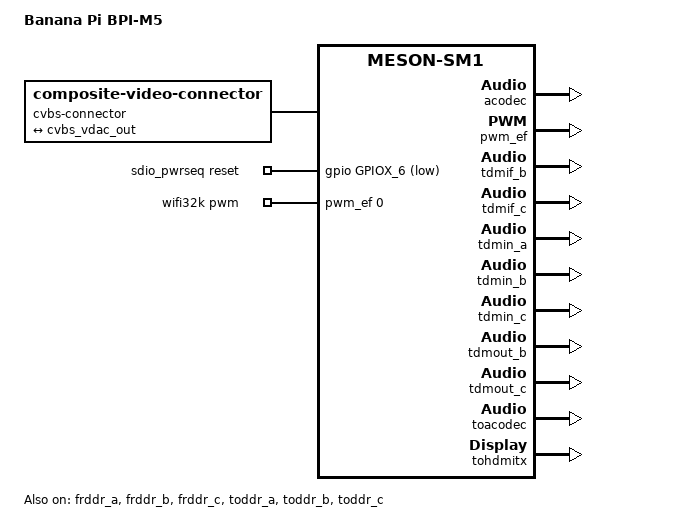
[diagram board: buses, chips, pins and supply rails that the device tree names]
// SPDX-License-Identifier: (GPL-2.0+ OR MIT)
/*
 * Copyright (c) 2021 BayLibre SAS
 * Author: Neil Armstrong <narmstrong@baylibre.com>
 */

/dts-v1/;

#include "meson-sm1-bananapi.dtsi"
#include <dt-bindings/sound/meson-g12a-toacodec.h>
#include <dt-bindings/sound/meson-g12a-tohdmitx.h>

/ {
	compatible = "bananapi,bpi-m5", "amlogic,sm1";
	model = "Banana Pi BPI-M5";

	/* TOFIX: handle CVBS_DET on SARADC channel 0 */
	cvbs-connector {
		compatible = "composite-video-connector";

		port {
			cvbs_connector_in: endpoint {
				remote-endpoint = <&cvbs_vdac_out>;
			};
		};
	};

	sdio_pwrseq: sdio-pwrseq {
		compatible = "mmc-pwrseq-simple";
		reset-gpios = <&gpio GPIOX_6 GPIO_ACTIVE_LOW>;
		clocks = <&wifi32k>;
		clock-names = "ext_clock";
	};

	wifi32k: wifi32k {
		compatible = "pwm-clock";
		#clock-cells = <0>;
		clock-frequency = <32768>;
		pwms = <&pwm_ef 0 30518 0>; /* PWM_E at 32.768KHz */
	};

	sound {
		compatible = "amlogic,axg-sound-card";
		model = "BPI-M5";
		audio-widgets = "Line", "Lineout";
		audio-aux-devs = <&tdmout_b>, <&tdmout_c>,
				 <&tdmin_a>, <&tdmin_b>, <&tdmin_c>;
		audio-routing = "TDMOUT_B IN 0", "FRDDR_A OUT 1",
				"TDMOUT_B IN 1", "FRDDR_B OUT 1",
				"TDMOUT_B IN 2", "FRDDR_C OUT 1",
				"TDM_B Playback", "TDMOUT_B OUT",
				"TDMOUT_C IN 0", "FRDDR_A OUT 2",
				"TDMOUT_C IN 1", "FRDDR_B OUT 2",
				"TDMOUT_C IN 2", "FRDDR_C OUT 2",
				"TDM_C Playback", "TDMOUT_C OUT",
				"TDMIN_A IN 4", "TDM_B Loopback",
				"TDMIN_B IN 4", "TDM_B Loopback",
				"TDMIN_C IN 4", "TDM_B Loopback",
				"TDMIN_A IN 5", "TDM_C Loopback",
				"TDMIN_B IN 5", "TDM_C Loopback",
				"TDMIN_C IN 5", "TDM_C Loopback",
				"TODDR_A IN 0", "TDMIN_A OUT",
				"TODDR_B IN 0", "TDMIN_A OUT",
				"TODDR_C IN 0", "TDMIN_A OUT",
				"TODDR_A IN 1", "TDMIN_B OUT",
				"TODDR_B IN 1", "TDMIN_B OUT",
				"TODDR_C IN 1", "TDMIN_B OUT",
				"TODDR_A IN 2", "TDMIN_C OUT",
				"TODDR_B IN 2", "TDMIN_C OUT",
				"TODDR_C IN 2", "TDMIN_C OUT",
				"Lineout", "ACODEC LOLP",
				"Lineout", "ACODEC LORP";

		assigned-clocks = <&clkc CLKID_MPLL2>,
				  <&clkc CLKID_MPLL0>,
				  <&clkc CLKID_MPLL1>;
		assigned-clock-parents = <0>, <0>, <0>;
		assigned-clock-rates = <294912000>,
				       <270950400>,
				       <393216000>;

		dai-link-0 {
			sound-dai = <&frddr_a>;
		};

		dai-link-1 {
			sound-dai = <&frddr_b>;
		};

		dai-link-2 {
			sound-dai = <&frddr_c>;
		};

		dai-link-3 {
			sound-dai = <&toddr_a>;
		};

		dai-link-4 {
			sound-dai = <&toddr_b>;
		};

		dai-link-5 {
			sound-dai = <&toddr_c>;
		};

		/* 8ch hdmi interface */
		dai-link-6 {
			sound-dai = <&tdmif_b>;
			dai-format = "i2s";
			dai-tdm-slot-tx-mask-0 = <1 1>;
			dai-tdm-slot-tx-mask-1 = <1 1>;
			dai-tdm-slot-tx-mask-2 = <1 1>;
			dai-tdm-slot-tx-mask-3 = <1 1>;
			mclk-fs = <256>;

			codec-0 {
				sound-dai = <&tohdmitx TOHDMITX_I2S_IN_B>;
			};

			codec-1 {
				sound-dai = <&toacodec TOACODEC_IN_B>;
			};
		};

		/* i2s jack output interface */
		dai-link-7 {
			sound-dai = <&tdmif_c>;
			dai-format = "i2s";
			dai-tdm-slot-tx-mask-0 = <1 1>;
			mclk-fs = <256>;

			codec-0 {
				sound-dai = <&tohdmitx TOHDMITX_I2S_IN_C>;
			};

			codec-1 {
				sound-dai = <&toacodec TOACODEC_IN_C>;
			};
		};

		/* hdmi glue */
		dai-link-8 {
			sound-dai = <&tohdmitx TOHDMITX_I2S_OUT>;

			codec {
				sound-dai = <&hdmi_tx>;
			};
		};

		/* acodec glue */
		dai-link-9 {
			sound-dai = <&toacodec TOACODEC_OUT>;

			codec {
				sound-dai = <&acodec>;
			};
		};
	};
};

&acodec {
	AVDD-supply = <&vddao_1v8>;
	status = "okay";
};

&clkc_audio {
	status = "okay";
};

&cvbs_vdac_port {
	cvbs_vdac_out: endpoint {
		remote-endpoint = <&cvbs_connector_in>;
	};
};

&frddr_a {
	status = "okay";
};

&frddr_b {
	status = "okay";
};

&frddr_c {
	status = "okay";
};

&pwm_ef {
	status = "okay";
	pinctrl-0 = <&pwm_e_pins>;
	pinctrl-names = "default";
};

/* SDIO */
&sd_emmc_a {
	/* enable if WiFi/BT board connected */
	status = "disabled";
	pinctrl-0 = <&sdio_pins>;
	pinctrl-1 = <&sdio_clk_gate_pins>;
	pinctrl-names = "default", "clk-gate";
	#address-cells = <1>;
	#size-cells = <0>;

	bus-width = <4>;
	sd-uhs-sdr104;
	max-frequency = <50000000>;

	non-removable;
	disable-wp;

	/* WiFi firmware requires power in suspend */
	keep-power-in-suspend;

	mmc-pwrseq = <&sdio_pwrseq>;

	vmmc-supply = <&vddao_3v3>;
	vqmmc-supply = <&vddao_1v8>;

	rtl8822cs: wifi@1 {
		reg = <1>;
	};
};

&tdmif_b {
	status = "okay";
};

&tdmif_c {
	status = "okay";
};

&tdmin_a {
	status = "okay";
};

&tdmin_b {
	status = "okay";
};

&tdmin_c {
	status = "okay";
};

&tdmout_b {
	status = "okay";
};

&tdmout_c {
	status = "okay";
};

&toacodec {
	status = "okay";
};

&tohdmitx {
	status = "okay";
};

&toddr_a {
	status = "okay";
};

&toddr_b {
	status = "okay";
};

&toddr_c {
	status = "okay";
};

&uart_A {
	/* enable if WiFi/BT board connected */
	status = "disabled";
	pinctrl-0 = <&uart_a_pins>, <&uart_a_cts_rts_pins>;
	pinctrl-names = "default";
	uart-has-rtscts;

	bluetooth {
		compatible = "realtek,rtl8822cs-bt";
		enable-gpios  = <&gpio GPIOX_17 GPIO_ACTIVE_HIGH>;
		host-wake-gpios = <&gpio GPIOX_19 GPIO_ACTIVE_HIGH>;
		device-wake-gpios = <&gpio GPIOX_18 GPIO_ACTIVE_HIGH>;
	};
};
